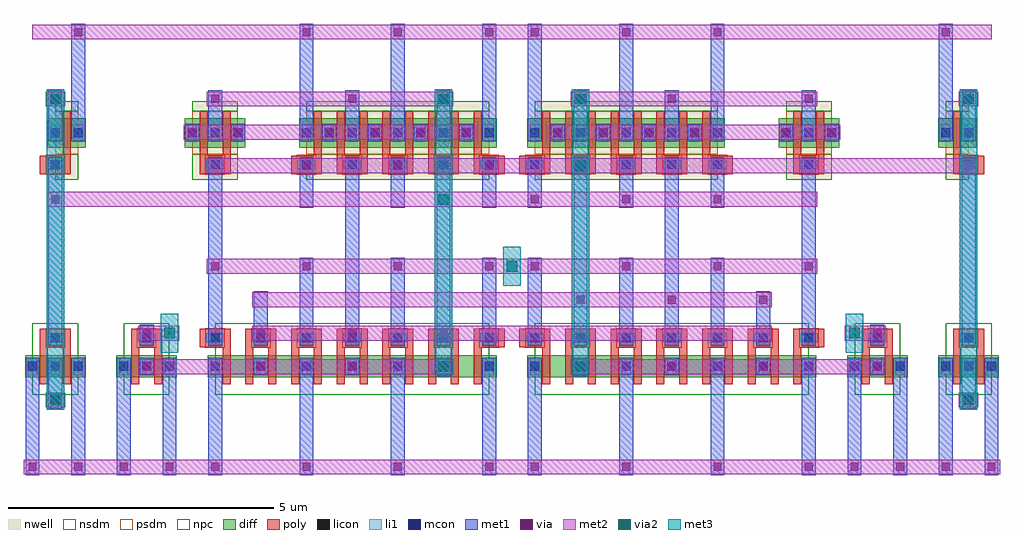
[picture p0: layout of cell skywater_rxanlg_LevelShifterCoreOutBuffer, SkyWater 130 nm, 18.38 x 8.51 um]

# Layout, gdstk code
from math import pi, radians
import gdstk
lib = gdstk.Library(unit=1e-6, precision=1e-09)
def R(c, l, rs):  # rectangles x0, y0, x1, y1
    for r in rs: c.add(gdstk.rectangle(r[:2], r[2:], *l))
def A(c, l, x, y, w, h, nx, ny, dx, dy):  # array of equal rectangles
    R(c, l, [(x+i*dx, y+j*dy, x+i*dx+w, y+j*dy+h) for i in range(nx) for j in range(ny)])
def P(c, l, *ps):  # polygons
    for p in ps: c.add(gdstk.Polygon(p, *l))
nwell = (64, 20)
diff = (65, 20)
poly = (66, 20)
licon = (66, 44)
li1 = (67, 20)
mcon = (67, 44)
met1 = (68, 20)
via = (68, 44)
met2 = (69, 20)
via2 = (69, 44)
met3 = (70, 20)
nsdm = (93, 44)
psdm = (94, 20)
npc = (95, 20)

skywater_rxanlg_mosconn_ = lib.new_cell('skywater_rxanlg_MOSConn_1')
R(skywater_rxanlg_mosconn_, diff, [(-0.14,0.605,1,1.025)])
R(skywater_rxanlg_mosconn_, poly, [(0.265,0.105,0.595,0.455)])
P(skywater_rxanlg_mosconn_, poly, [(0.57,1.155),(0.57,0.455),(0.29,0.455),(0.29,1.155),(0.14,1.155),(0.14,0.105),(0.72,0.105),(0.72,1.155)])
A(skywater_rxanlg_mosconn_, licon, -0.085, 0.73, 0.17, 0.17, 3, 1, 0.43, 0)
R(skywater_rxanlg_mosconn_, licon, [(0.345,0.195,0.515,0.365)])
A(skywater_rxanlg_mosconn_, li1, -0.085, 0.65, 0.17, 0.33, 3, 1, 0.43, 0)
A(skywater_rxanlg_mosconn_, li1, -0.085, 0.69, 0.17, 0.25, 3, 1, 0.43, 0)
R(skywater_rxanlg_mosconn_, li1, [(0.265,0.195,0.595,0.365), (0.265,0.195,0.595,0.365), (0.305,0.195,0.555,0.365)])
A(skywater_rxanlg_mosconn_, mcon, -0.085, 0.73, 0.17, 0.17, 3, 1, 0.43, 0)
R(skywater_rxanlg_mosconn_, mcon, [(0.345,0.195,0.515,0.365)])
A(skywater_rxanlg_mosconn_, met1, -0.13, 0.655, 0.26, 0.32, 3, 1, 0.43, 0)
A(skywater_rxanlg_mosconn_, met1, -0.13, 0.67, 0.26, 0.29, 3, 1, 0.43, 0)
R(skywater_rxanlg_mosconn_, met1, [(0.3,0.105,0.56,0.425), (0.3,0.135,0.56,0.425)])
R(skywater_rxanlg_mosconn_, nsdm, [(0,0,0.86,1.35)])
R(skywater_rxanlg_mosconn_, npc, [(0.245,0.095,0.615,0.465)])

c_skywater_rxanlg_mosconn_ = lib.new_cell('skywater_rxanlg_MOSConn_4')
R(c_skywater_rxanlg_mosconn_, nwell, [(0,0,0.43,1.48)])
R(c_skywater_rxanlg_mosconn_, diff, [(-0.14,0.605,0.57,1.155)])
R(c_skywater_rxanlg_mosconn_, poly, [(0.265,0.105,0.595,0.455)])
P(c_skywater_rxanlg_mosconn_, poly, [(0.14,1.285),(0.14,0.105),(0.72,0.105),(0.72,0.455),(0.29,0.455),(0.29,1.285)])
R(c_skywater_rxanlg_mosconn_, licon, [(0.345,0.195,0.515,0.365), (-0.085,0.795,0.085,0.965), (0.345,0.795,0.515,0.965)])
R(c_skywater_rxanlg_mosconn_, li1, [(0.265,0.195,0.595,0.365), (0.265,0.195,0.595,0.365), (0.305,0.195,0.555,0.365), (-0.085,0.715,0.085,1.045), (0.345,0.715,0.515,1.045), (-0.085,0.755,0.085,1.005), (0.345,0.755,0.515,1.005)])
R(c_skywater_rxanlg_mosconn_, mcon, [(0.345,0.195,0.515,0.365), (-0.085,0.795,0.085,0.965), (0.345,0.795,0.515,0.965)])
R(c_skywater_rxanlg_mosconn_, met1, [(0.3,0.105,0.56,0.425), (0.3,0.135,0.56,0.425), (-0.13,0.72,0.13,1.04), (0.3,0.72,0.56,1.04), (-0.13,0.735,0.13,1.025), (0.3,0.735,0.56,1.025)])
R(c_skywater_rxanlg_mosconn_, nsdm, [(0,0,0.43,0.475), (0,1.285,0.43,1.48)])
R(c_skywater_rxanlg_mosconn_, psdm, [(0,0.475,0.43,1.285)])
R(c_skywater_rxanlg_mosconn_, npc, [(0.245,0.095,0.615,0.465)])

skywater_rxanlg_invcore_ = lib.new_cell('skywater_rxanlg_InvCore_1')
R(skywater_rxanlg_invcore_, met1, [(-0.13,-0.16,0.13,2.055), (-0.13,-0.16,0.13,0.16), (0.73,-0.16,0.99,2.055), (0.73,-0.16,0.99,0.16), (0.3,1.1,0.56,2.055), (0.3,1.1,0.56,1.42), (0.3,2.285,0.56,5.835), (0.3,4.88,0.56,5.2), (-0.13,6.13,0.13,8.35), (0.3,6.13,0.56,7.09), (0.3,6.77,0.56,7.09), (-0.13,8.03,0.13,8.35)])
R(skywater_rxanlg_invcore_, via, [(-0.075,-0.075,0.075,0.075), (0.785,-0.075,0.935,0.075), (0.355,1.185,0.505,1.335), (0.355,4.965,0.505,5.115), (0.355,6.855,0.505,7.005), (-0.075,8.115,0.075,8.265)])
R(skywater_rxanlg_invcore_, met2, [(-0.16,-0.14,1.02,0.14), (-0.16,-0.14,0.16,0.14), (0.7,-0.14,1.02,0.14), (0.245,1.12,0.615,1.4), (0.245,1.12,0.615,1.4), (0.27,1.12,0.59,1.4), (0.27,4.9,0.59,5.18), (0.27,4.9,0.59,5.18), (0.245,6.79,0.615,7.07), (0.245,6.79,0.615,7.07), (0.27,6.79,0.59,7.07), (-0.16,8.05,0.16,8.33), (-0.16,8.05,0.86,8.33)])
R(skywater_rxanlg_invcore_, via2, [(0.33,1.16,0.53,1.36), (0.33,6.83,0.53,7.03)])
R(skywater_rxanlg_invcore_, met3, [(0.265,1.075,0.595,7.115), (0.265,1.075,0.595,1.445), (0.265,6.745,0.595,7.115)])
skywater_rxanlg_invcore_.add(gdstk.Reference(skywater_rxanlg_mosconn_, (0,2.71), x_reflection=True))
skywater_rxanlg_invcore_.add(gdstk.Reference(c_skywater_rxanlg_mosconn_, (0,5.41)))

skywater_rxanlg_invchain = lib.new_cell('skywater_rxanlg_InvChainCore_1')
R(skywater_rxanlg_invchain, met2, [(-0.16,-0.14,1.02,0.14), (-0.16,8.05,0.86,8.33)])
skywater_rxanlg_invchain.add(gdstk.Reference(skywater_rxanlg_invcore_, (0,0)))

c_skywater_rxanlg_mosconn__ = lib.new_cell('skywater_rxanlg_MOSConn_2')
R(c_skywater_rxanlg_mosconn__, diff, [(-0.14,0.605,5.3,1.025)])
A(c_skywater_rxanlg_mosconn__, poly, -0.165, 0.105, 0.33, 0.35, 7, 1, 0.86, 0)
P(c_skywater_rxanlg_mosconn__, poly, [(0.14,1.155),(0.14,0.455),(-0.29,0.455),(-0.29,0.105),(0.29,0.105),(0.29,1.155)],
  [(1,1.155),(1,0.455),(0.72,0.455),(0.72,1.155),(0.57,1.155),(0.57,0.105),(1.15,0.105),(1.15,1.155)],
  [(1.86,1.155),(1.86,0.455),(1.58,0.455),(1.58,1.155),(1.43,1.155),(1.43,0.105),(2.01,0.105),(2.01,1.155)],
  [(2.72,1.155),(2.72,0.455),(2.44,0.455),(2.44,1.155),(2.29,1.155),(2.29,0.105),(2.87,0.105),(2.87,1.155)],
  [(3.58,1.155),(3.58,0.455),(3.3,0.455),(3.3,1.155),(3.15,1.155),(3.15,0.105),(3.73,0.105),(3.73,1.155)],
  [(4.44,1.155),(4.44,0.455),(4.16,0.455),(4.16,1.155),(4.01,1.155),(4.01,0.105),(4.59,0.105),(4.59,1.155)],
  [(4.87,1.155),(4.87,0.105),(5.45,0.105),(5.45,0.455),(5.02,0.455),(5.02,1.155)])
A(c_skywater_rxanlg_mosconn__, licon, -0.085, 0.195, 0.17, 0.17, 7, 2, 0.86, 0.535)
A(c_skywater_rxanlg_mosconn__, li1, -0.125, 0.195, 0.25, 0.17, 7, 1, 0.86, 0)
A(c_skywater_rxanlg_mosconn__, li1, -0.085, 0.65, 0.17, 0.33, 7, 1, 0.86, 0)
A(c_skywater_rxanlg_mosconn__, li1, -0.085, 0.69, 0.17, 0.25, 7, 1, 0.86, 0)
R(c_skywater_rxanlg_mosconn__, li1, [(-0.165,0.195,0.165,0.365), (-0.165,0.195,0.165,0.365), (0.695,0.195,1.025,0.365), (0.695,0.195,1.025,0.365), (1.555,0.195,1.885,0.365), (1.555,0.195,1.885,0.365), (2.415,0.195,2.745,0.365), (2.415,0.195,2.745,0.365), (3.275,0.195,3.605,0.365), (3.275,0.195,3.605,0.365), (4.135,0.195,4.465,0.365), (4.135,0.195,4.465,0.365), (4.995,0.195,5.325,0.365), (4.995,0.195,5.325,0.365)])
A(c_skywater_rxanlg_mosconn__, mcon, -0.085, 0.195, 0.17, 0.17, 7, 2, 0.86, 0.535)
A(c_skywater_rxanlg_mosconn__, met1, -0.13, 0.105, 0.26, 0.32, 7, 2, 0.86, 0.55)
A(c_skywater_rxanlg_mosconn__, met1, -0.13, 0.135, 0.26, 0.29, 7, 2, 0.86, 0.535)
R(c_skywater_rxanlg_mosconn__, nsdm, [(0,0,5.16,1.35)])
A(c_skywater_rxanlg_mosconn__, npc, -0.185, 0.095, 0.37, 0.37, 7, 1, 0.86, 0)

skywater_rxanlg_mosconn = lib.new_cell('skywater_rxanlg_MOSConn')
R(skywater_rxanlg_mosconn, nwell, [(0,0,3.44,1.48)])
R(skywater_rxanlg_mosconn, diff, [(-0.14,0.605,3.58,1.155)])
A(skywater_rxanlg_mosconn, poly, -0.165, 0.105, 0.33, 0.35, 5, 1, 0.86, 0)
P(skywater_rxanlg_mosconn, poly, [(0.14,1.285),(0.14,0.455),(-0.29,0.455),(-0.29,0.105),(0.29,0.105),(0.29,1.285)],
  [(1,1.285),(1,0.455),(0.72,0.455),(0.72,1.285),(0.57,1.285),(0.57,0.105),(1.15,0.105),(1.15,1.285)],
  [(1.86,1.285),(1.86,0.455),(1.58,0.455),(1.58,1.285),(1.43,1.285),(1.43,0.105),(2.01,0.105),(2.01,1.285)],
  [(2.72,1.285),(2.72,0.455),(2.44,0.455),(2.44,1.285),(2.29,1.285),(2.29,0.105),(2.87,0.105),(2.87,1.285)],
  [(3.15,1.285),(3.15,0.105),(3.73,0.105),(3.73,0.455),(3.3,0.455),(3.3,1.285)])
A(skywater_rxanlg_mosconn, licon, -0.085, 0.195, 0.17, 0.17, 5, 1, 0.86, 0)
A(skywater_rxanlg_mosconn, licon, -0.085, 0.795, 0.17, 0.17, 9, 1, 0.43, 0)
A(skywater_rxanlg_mosconn, li1, -0.125, 0.195, 0.25, 0.17, 5, 1, 0.86, 0)
A(skywater_rxanlg_mosconn, li1, -0.085, 0.715, 0.17, 0.33, 9, 1, 0.43, 0)
A(skywater_rxanlg_mosconn, li1, -0.085, 0.755, 0.17, 0.25, 9, 1, 0.43, 0)
R(skywater_rxanlg_mosconn, li1, [(-0.165,0.195,0.165,0.365), (-0.165,0.195,0.165,0.365), (0.695,0.195,1.025,0.365), (0.695,0.195,1.025,0.365), (1.555,0.195,1.885,0.365), (1.555,0.195,1.885,0.365), (2.415,0.195,2.745,0.365), (2.415,0.195,2.745,0.365), (3.275,0.195,3.605,0.365), (3.275,0.195,3.605,0.365)])
A(skywater_rxanlg_mosconn, mcon, -0.085, 0.195, 0.17, 0.17, 5, 1, 0.86, 0)
A(skywater_rxanlg_mosconn, mcon, -0.085, 0.795, 0.17, 0.17, 9, 1, 0.43, 0)
A(skywater_rxanlg_mosconn, met1, -0.13, 0.105, 0.26, 0.32, 5, 1, 0.86, 0)
A(skywater_rxanlg_mosconn, met1, -0.13, 0.135, 0.26, 0.29, 5, 1, 0.86, 0)
A(skywater_rxanlg_mosconn, met1, -0.13, 0.72, 0.26, 0.32, 9, 1, 0.43, 0)
A(skywater_rxanlg_mosconn, met1, -0.13, 0.735, 0.26, 0.29, 9, 1, 0.43, 0)
R(skywater_rxanlg_mosconn, nsdm, [(0,0,3.44,0.475), (0,1.285,3.44,1.48)])
R(skywater_rxanlg_mosconn, psdm, [(0,0.475,3.44,1.285)])
A(skywater_rxanlg_mosconn, npc, -0.185, 0.095, 0.37, 0.37, 5, 1, 0.86, 0)

c_skywater_rxanlg_mosconn___ = lib.new_cell('skywater_rxanlg_MOSConn_3')
R(c_skywater_rxanlg_mosconn___, nwell, [(0,0,0.86,1.48)])
R(c_skywater_rxanlg_mosconn___, diff, [(-0.14,0.605,1,1.155)])
R(c_skywater_rxanlg_mosconn___, poly, [(0.265,0.105,0.595,0.455)])
P(c_skywater_rxanlg_mosconn___, poly, [(0.57,1.285),(0.57,0.455),(0.29,0.455),(0.29,1.285),(0.14,1.285),(0.14,0.105),(0.72,0.105),(0.72,1.285)])
A(c_skywater_rxanlg_mosconn___, licon, -0.085, 0.795, 0.17, 0.17, 3, 1, 0.43, 0)
R(c_skywater_rxanlg_mosconn___, licon, [(0.345,0.195,0.515,0.365)])
A(c_skywater_rxanlg_mosconn___, li1, -0.085, 0.715, 0.17, 0.33, 3, 1, 0.43, 0)
A(c_skywater_rxanlg_mosconn___, li1, -0.085, 0.755, 0.17, 0.25, 3, 1, 0.43, 0)
R(c_skywater_rxanlg_mosconn___, li1, [(0.265,0.195,0.595,0.365), (0.265,0.195,0.595,0.365), (0.305,0.195,0.555,0.365)])
A(c_skywater_rxanlg_mosconn___, mcon, -0.085, 0.795, 0.17, 0.17, 3, 1, 0.43, 0)
R(c_skywater_rxanlg_mosconn___, mcon, [(0.345,0.195,0.515,0.365)])
A(c_skywater_rxanlg_mosconn___, met1, -0.13, 0.72, 0.26, 0.32, 3, 1, 0.43, 0)
A(c_skywater_rxanlg_mosconn___, met1, -0.13, 0.735, 0.26, 0.29, 3, 1, 0.43, 0)
R(c_skywater_rxanlg_mosconn___, met1, [(0.3,0.105,0.56,0.425), (0.3,0.135,0.56,0.425)])
R(c_skywater_rxanlg_mosconn___, nsdm, [(0,0,0.86,0.475), (0,1.285,0.86,1.48)])
R(c_skywater_rxanlg_mosconn___, psdm, [(0,0.475,0.86,1.285)])
R(c_skywater_rxanlg_mosconn___, npc, [(0.245,0.095,0.615,0.465)])

skywater_rxanlg_levelshi = lib.new_cell('skywater_rxanlg_LevelShifterCore')
A(skywater_rxanlg_levelshi, met1, -0.13, -0.16, 0.26, 2.215, 3, 1, 0.86, 0)
A(skywater_rxanlg_levelshi, met1, -0.13, -0.16, 0.26, 0.32, 3, 1, 0.86, 0)
A(skywater_rxanlg_levelshi, met1, 3.31, -0.16, 0.26, 2.215, 3, 1, 1.72, 0)
A(skywater_rxanlg_levelshi, met1, 3.31, -0.16, 0.26, 0.32, 3, 2, 1.72, 5.67)
A(skywater_rxanlg_levelshi, met1, 7.61, -0.16, 0.26, 2.215, 4, 1, 1.72, 0)
A(skywater_rxanlg_levelshi, met1, 7.61, -0.16, 0.26, 0.32, 4, 2, 1.72, 3.78)
A(skywater_rxanlg_levelshi, met1, 2.45, 1.73, 0.26, 0.325, 3, 1, 1.72, 0)
A(skywater_rxanlg_levelshi, met1, 2.45, 1.73, 0.26, 0.32, 3, 2, 1.72, 0.63)
A(skywater_rxanlg_levelshi, met1, 8.47, 1.73, 0.26, 0.325, 3, 1, 1.72, 0)
A(skywater_rxanlg_levelshi, met1, 8.47, 1.73, 0.26, 0.32, 3, 2, 1.72, 1.26)
A(skywater_rxanlg_levelshi, met1, 3.31, 2.285, 0.26, 1.655, 3, 1, 1.72, 0)
A(skywater_rxanlg_levelshi, met1, 7.61, 2.285, 0.26, 1.655, 3, 1, 1.72, 0)
A(skywater_rxanlg_levelshi, met1, 1.59, 3.62, 0.26, 0.32, 4, 1, 1.72, 0)
A(skywater_rxanlg_levelshi, met1, 3.31, 4.88, 0.26, 0.955, 3, 1, 1.72, 0)
A(skywater_rxanlg_levelshi, met1, 7.61, 4.88, 0.26, 0.955, 3, 1, 1.72, 0)
A(skywater_rxanlg_levelshi, met1, 7.61, 4.88, 0.26, 0.32, 3, 2, 1.72, 3.15)
A(skywater_rxanlg_levelshi, met1, 3.31, 6.13, 0.26, 2.22, 3, 1, 1.72, 0)
A(skywater_rxanlg_levelshi, met1, 3.74, 6.13, 0.26, 0.33, 4, 1, 0.86, 0)
A(skywater_rxanlg_levelshi, met1, 7.61, 6.13, 0.26, 2.22, 3, 1, 1.72, 0)
A(skywater_rxanlg_levelshi, met1, 8.04, 6.13, 0.26, 0.33, 4, 1, 0.86, 0)
A(skywater_rxanlg_levelshi, met1, 3.74, 6.14, 0.26, 0.32, 4, 1, 0.86, 0)
A(skywater_rxanlg_levelshi, met1, 8.04, 6.14, 0.26, 0.32, 4, 1, 0.86, 0)
A(skywater_rxanlg_levelshi, met1, 3.31, 8.03, 0.26, 0.32, 3, 1, 1.72, 0)
R(skywater_rxanlg_levelshi, met1, [(13.63,-0.16,13.89,2.055), (13.63,-0.16,13.89,0.16), (14.49,-0.16,14.75,2.055), (14.49,-0.16,14.75,0.16), (0.3,1.73,0.56,2.055), (0.3,1.73,0.56,2.05), (14.06,1.73,14.32,2.055), (14.06,1.73,14.32,2.05), (0.3,2.285,0.56,2.68), (1.59,2.285,1.85,5.835), (2.45,2.285,2.71,3.31), (4.17,2.285,4.43,5.835), (5.89,2.285,6.15,5.835), (8.47,2.285,8.73,5.835), (10.19,2.285,10.45,5.835), (11.91,2.285,12.17,3.31), (12.77,2.285,13.03,5.835), (14.06,2.285,14.32,2.68), (0.3,2.36,0.56,2.68), (14.06,2.36,14.32,2.68), (1.16,6.13,1.42,6.46), (1.59,6.13,1.85,7.09), (2.02,6.13,2.28,6.46), (4.17,6.13,4.43,7.09), (5.89,6.13,6.15,7.09), (8.47,6.13,8.73,7.09), (10.19,6.13,10.45,7.09), (12.34,6.13,12.6,6.46), (12.77,6.13,13.03,7.09), (13.2,6.13,13.46,6.46), (1.16,6.14,1.42,6.46), (2.02,6.14,2.28,6.46), (12.34,6.14,12.6,6.46), (13.2,6.14,13.46,6.46), (1.59,6.77,1.85,7.09), (4.17,6.77,4.43,7.09), (5.89,6.77,6.15,7.09), (8.47,6.77,8.73,7.09), (10.19,6.77,10.45,7.09), (12.77,6.77,13.03,7.09)])
A(skywater_rxanlg_levelshi, via, -0.075, -0.075, 0.15, 0.15, 3, 1, 0.86, 0)
A(skywater_rxanlg_levelshi, via, 3.365, -0.075, 0.15, 0.15, 3, 2, 1.72, 5.67)
A(skywater_rxanlg_levelshi, via, 7.665, -0.075, 0.15, 0.15, 4, 2, 1.72, 3.78)
A(skywater_rxanlg_levelshi, via, 2.505, 1.815, 0.15, 0.15, 3, 2, 1.72, 0.63)
A(skywater_rxanlg_levelshi, via, 8.525, 1.815, 0.15, 0.15, 3, 2, 1.72, 1.26)
A(skywater_rxanlg_levelshi, via, 1.645, 3.705, 0.15, 0.15, 4, 1, 1.72, 0)
A(skywater_rxanlg_levelshi, via, 7.665, 4.965, 0.15, 0.15, 3, 2, 1.72, 3.15)
A(skywater_rxanlg_levelshi, via, 3.795, 6.225, 0.15, 0.15, 4, 1, 0.86, 0)
A(skywater_rxanlg_levelshi, via, 8.095, 6.225, 0.15, 0.15, 4, 1, 0.86, 0)
A(skywater_rxanlg_levelshi, via, 3.365, 8.115, 0.15, 0.15, 3, 1, 1.72, 0)
R(skywater_rxanlg_levelshi, via, [(13.685,-0.075,13.835,0.075), (14.545,-0.075,14.695,0.075), (0.355,1.815,0.505,1.965), (14.115,1.815,14.265,1.965), (0.355,2.445,0.505,2.595), (14.115,2.445,14.265,2.595), (1.215,6.225,1.365,6.375), (2.075,6.225,2.225,6.375), (12.395,6.225,12.545,6.375), (13.255,6.225,13.405,6.375), (1.645,6.855,1.795,7.005), (4.225,6.855,4.375,7.005), (5.945,6.855,6.095,7.005), (8.525,6.855,8.675,7.005), (10.245,6.855,10.395,7.005), (12.825,6.855,12.975,7.005)])
A(skywater_rxanlg_levelshi, met2, -0.16, -0.14, 0.32, 0.28, 3, 1, 0.86, 0)
A(skywater_rxanlg_levelshi, met2, 3.28, -0.14, 0.32, 0.28, 3, 2, 1.72, 5.67)
A(skywater_rxanlg_levelshi, met2, 7.58, -0.14, 0.32, 0.28, 4, 2, 1.72, 3.78)
A(skywater_rxanlg_levelshi, met2, 2.42, 1.75, 0.32, 0.28, 3, 2, 1.72, 0.63)
A(skywater_rxanlg_levelshi, met2, 8.44, 1.75, 0.32, 0.28, 3, 2, 1.72, 1.26)
A(skywater_rxanlg_levelshi, met2, 1.56, 3.64, 0.32, 0.28, 4, 1, 1.72, 0)
A(skywater_rxanlg_levelshi, met2, 7.58, 4.9, 0.32, 0.28, 3, 2, 1.72, 3.15)
A(skywater_rxanlg_levelshi, met2, 3.71, 6.16, 0.32, 0.28, 4, 1, 0.86, 0)
A(skywater_rxanlg_levelshi, met2, 8.01, 6.16, 0.32, 0.28, 4, 1, 0.86, 0)
A(skywater_rxanlg_levelshi, met2, 3.28, 8.05, 0.32, 0.28, 3, 1, 1.72, 0)
R(skywater_rxanlg_levelshi, met2, [(-0.16,-0.14,14.78,0.14), (13.6,-0.14,13.92,0.14), (14.46,-0.14,14.78,0.14), (0.27,1.75,6.205,2.03), (0.27,1.75,0.59,2.03), (5.835,1.75,6.205,2.03), (8.415,1.75,14.35,2.03), (8.415,1.75,8.785,2.03), (14.03,1.75,14.35,2.03), (0.27,2.38,1.045,2.66), (0.27,2.38,0.59,2.66), (0.675,2.38,1.045,2.66), (2.42,2.38,12.2,2.66), (13.575,2.38,14.35,2.66), (13.575,2.38,13.945,2.66), (14.03,2.38,14.35,2.66), (2.42,3.01,12.2,3.29), (1.56,3.64,13.06,3.92), (7.125,3.64,7.495,3.92), (1.56,4.9,13.06,5.18), (5.835,4.9,6.205,5.18), (1.56,5.53,13.06,5.81), (8.415,5.53,8.785,5.81), (1.13,6.16,6.61,6.44), (1.13,6.16,1.45,6.44), (1.99,6.16,2.31,6.44), (8.01,6.16,13.49,6.44), (12.31,6.16,12.63,6.44), (13.17,6.16,13.49,6.44), (1.56,6.79,6.205,7.07), (1.56,6.79,1.88,7.07), (4.14,6.79,4.46,7.07), (5.835,6.79,6.205,7.07), (5.86,6.79,6.18,7.07), (8.415,6.79,13.06,7.07), (8.415,6.79,8.785,7.07), (8.44,6.79,8.76,7.07), (10.16,6.79,10.48,7.07), (12.74,6.79,13.06,7.07), (3.28,8.05,11.34,8.33)])
R(skywater_rxanlg_levelshi, via2, [(5.92,1.79,6.12,1.99), (8.5,1.79,8.7,1.99), (0.76,2.42,0.96,2.62), (13.66,2.42,13.86,2.62), (7.21,3.68,7.41,3.88), (5.92,4.94,6.12,5.14), (8.5,5.57,8.7,5.77), (5.92,6.83,6.12,7.03), (8.5,6.83,8.7,7.03)])
R(skywater_rxanlg_levelshi, met3, [(5.855,1.705,6.185,7.115), (5.855,1.705,6.185,2.075), (8.435,1.705,8.765,7.115), (8.435,1.705,8.765,2.075), (0.695,2.155,1.025,2.885), (13.595,2.155,13.925,2.885), (0.695,2.335,1.025,2.705), (13.595,2.335,13.925,2.705), (7.145,3.415,7.475,4.145), (7.145,3.595,7.475,3.965), (5.855,4.855,6.185,5.225), (8.435,5.485,8.765,5.855), (5.855,6.745,6.185,7.115), (8.435,6.745,8.765,7.115)])
skywater_rxanlg_levelshi.add(gdstk.Reference(skywater_rxanlg_mosconn_, (0,2.71), x_reflection=True))
skywater_rxanlg_levelshi.add(gdstk.Reference(c_skywater_rxanlg_mosconn__, (6.88,2.71), rotation=pi))
skywater_rxanlg_levelshi.add(gdstk.Reference(c_skywater_rxanlg_mosconn__, (7.74,2.71), x_reflection=True))
skywater_rxanlg_levelshi.add(gdstk.Reference(skywater_rxanlg_mosconn_, (14.62,2.71), rotation=pi))
skywater_rxanlg_levelshi.add(gdstk.Reference(skywater_rxanlg_mosconn, (6.88,5.41), rotation=pi, x_reflection=True))
skywater_rxanlg_levelshi.add(gdstk.Reference(skywater_rxanlg_mosconn, (7.74,5.41)))
skywater_rxanlg_levelshi.add(gdstk.Reference(c_skywater_rxanlg_mosconn___, (1.29,5.41)))
skywater_rxanlg_levelshi.add(gdstk.Reference(c_skywater_rxanlg_mosconn___, (13.33,5.41), rotation=pi, x_reflection=True))

skywater_rxanlg_invcore = lib.new_cell('skywater_rxanlg_InvCore')
R(skywater_rxanlg_invcore, met1, [(-0.13,-0.16,0.13,2.055), (-0.13,-0.16,0.13,0.16), (0.73,-0.16,0.99,2.055), (0.73,-0.16,0.99,0.16), (0.3,1.1,0.56,2.055), (0.3,1.1,0.56,1.42), (0.3,2.285,0.56,5.835), (0.3,5.51,0.56,5.83), (-0.13,6.13,0.13,8.35), (0.3,6.13,0.56,7.09), (0.3,6.77,0.56,7.09), (-0.13,8.03,0.13,8.35)])
R(skywater_rxanlg_invcore, via, [(-0.075,-0.075,0.075,0.075), (0.785,-0.075,0.935,0.075), (0.355,1.185,0.505,1.335), (0.355,5.595,0.505,5.745), (0.355,6.855,0.505,7.005), (-0.075,8.115,0.075,8.265)])
R(skywater_rxanlg_invcore, met2, [(-0.16,-0.14,1.02,0.14), (-0.16,-0.14,0.16,0.14), (0.7,-0.14,1.02,0.14), (0.245,1.12,0.615,1.4), (0.245,1.12,0.615,1.4), (0.27,1.12,0.59,1.4), (0.27,5.53,0.59,5.81), (0.27,5.53,0.59,5.81), (0.245,6.79,0.615,7.07), (0.245,6.79,0.615,7.07), (0.27,6.79,0.59,7.07), (-0.16,8.05,0.16,8.33), (-0.16,8.05,0.86,8.33)])
R(skywater_rxanlg_invcore, via2, [(0.33,1.16,0.53,1.36), (0.33,6.83,0.53,7.03)])
R(skywater_rxanlg_invcore, met3, [(0.265,1.075,0.595,7.115), (0.265,1.075,0.595,1.445), (0.265,6.745,0.595,7.115)])
skywater_rxanlg_invcore.add(gdstk.Reference(skywater_rxanlg_mosconn_, (0,2.71), x_reflection=True))
skywater_rxanlg_invcore.add(gdstk.Reference(c_skywater_rxanlg_mosconn_, (0,5.41)))

c_skywater_rxanlg_invchain = lib.new_cell('skywater_rxanlg_InvChainCore')
R(c_skywater_rxanlg_invchain, met2, [(-0.16,-0.14,1.02,0.14), (-0.16,8.05,0.86,8.33)])
c_skywater_rxanlg_invchain.add(gdstk.Reference(skywater_rxanlg_invcore, (0,0)))

c_skywater_rxanlg_levelshi = lib.new_cell('skywater_rxanlg_LevelShifterCoreOutBuffer')
R(c_skywater_rxanlg_levelshi, met2, [(-0.16,-0.14,18.22,0.14), (0.27,4.9,14.78,5.18), (3.28,5.53,17.79,5.81), (0,8.05,18.06,8.33)])
c_skywater_rxanlg_levelshi.add(gdstk.Reference(skywater_rxanlg_invchain, (0.86,0), rotation=pi, x_reflection=True))
c_skywater_rxanlg_levelshi.add(gdstk.Reference(skywater_rxanlg_levelshi, (1.72,0)))
c_skywater_rxanlg_levelshi.add(gdstk.Reference(c_skywater_rxanlg_invchain, (17.2,0)))

lib.write_gds('skywater_rxanlg_LevelShifterCoreOutBuffer.gds')
